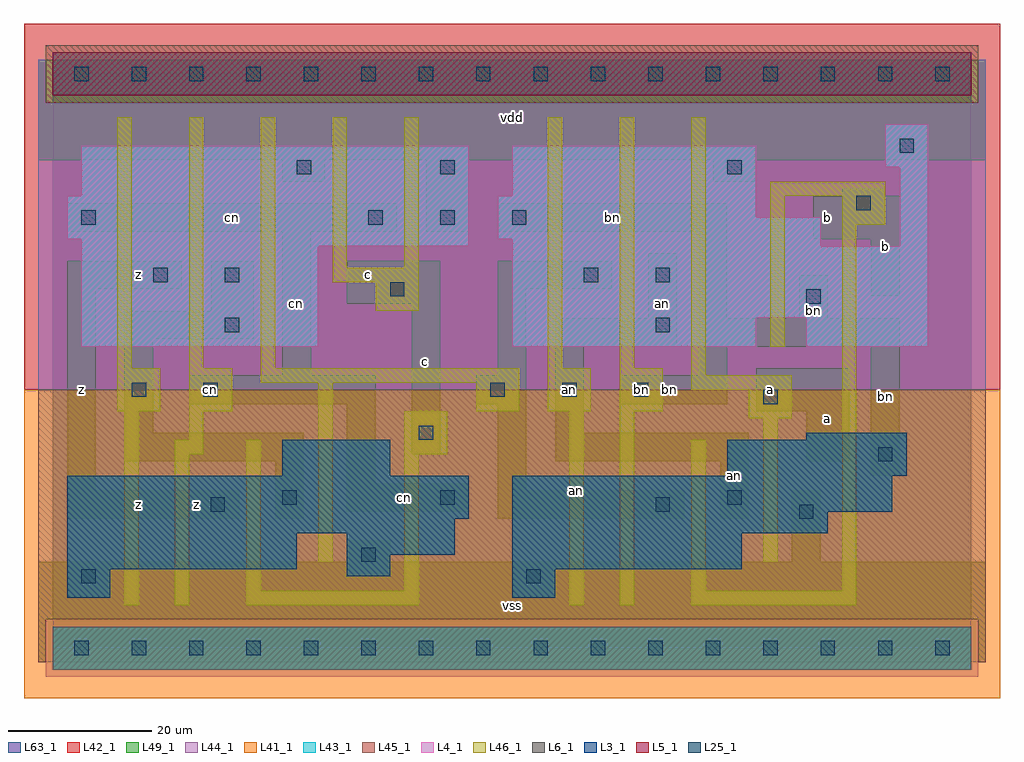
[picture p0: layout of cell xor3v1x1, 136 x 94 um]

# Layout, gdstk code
import gdstk
lib = gdstk.Library(unit=1e-6, precision=1e-09)
def R(c, l, rs):  # rectangles x0, y0, x1, y1
    for r in rs: c.add(gdstk.rectangle(r[:2], r[2:], *l))
def A(c, l, x, y, w, h, nx, ny, dx, dy):  # array of equal rectangles
    R(c, l, [(x+i*dx, y+j*dy, x+i*dx+w, y+j*dy+h) for i in range(nx) for j in range(ny)])
L3_1 = (3, 1)
L4_1 = (4, 1)
L5_1 = (5, 1)
L6_1 = (6, 1)
L25_1 = (25, 1)
L41_1 = (41, 1)
L42_1 = (42, 1)
L43_1 = (43, 1)
L44_1 = (44, 1)
L45_1 = (45, 1)
L46_1 = (46, 1)
L49_1 = (49, 1)
L63_1 = (63, 1)

xor3v1x1 = lib.new_cell('xor3v1x1')
R(xor3v1x1, L3_1, [(2,7,8,11), (64,7,70,11), (41,10,47,13), (2,11,34,16), (64,11,96,16), (41,13,56,16), (2,16,56,18), (64,16,108,19), (2,18,58,24), (64,19,117,24), (32,24,47,29), (94,24,119,29), (105,29,119,30)])
R(xor3v1x1, L4_1, [(4,42,37,56), (64,42,98,46), (105,42,122,46), (64,46,122,56), (4,56,58,57), (64,56,107,57), (118,56,122,67), (2,57,58,63), (62,57,107,60), (62,60,98,63), (4,63,58,70), (64,63,98,70), (116,67,122,73)])
R(xor3v1x1, L5_1, [(0,77,128,83)])
R(xor3v1x1, L6_1, [(0,-3,128,3), (0,-3,128,3)])
A(xor3v1x1, L25_1, 3, -1, 2, 2, 16, 2, 8, 80)
A(xor3v1x1, L25_1, 61, 35, 2, 2, 3, 1, 10, 0)
A(xor3v1x1, L25_1, 44, 59, 2, 2, 3, 1, 10, 0)
R(xor3v1x1, L25_1, [(4,9,6,11), (66,9,68,11), (43,12,45,14), (104,18,106,20), (22,19,24,21), (84,19,86,21), (32,20,34,22), (54,20,56,22), (94,20,96,22), (115,26,117,28), (51,29,53,31), (99,34,101,36), (11,35,13,37), (21,35,23,37), (24,44,26,46), (84,44,86,46), (105,48,107,50), (47,49,49,51), (14,51,16,53), (24,51,26,53), (74,51,76,53), (84,51,86,53), (4,59,6,61), (112,61,114,63), (34,66,36,68), (54,66,56,68), (94,66,96,68), (118,69,120,71)])
R(xor3v1x1, L41_1, [(-4,-7,132,36)])
R(xor3v1x1, L42_1, [(-4,36,132,87)])
R(xor3v1x1, L43_1, [(0,-3,128,3), (2,7,8,11), (64,7,70,11), (41,10,47,13), (2,11,34,16), (64,11,96,16), (41,13,56,16), (2,16,56,18), (64,16,108,19), (2,18,58,24), (64,19,117,24), (32,24,47,29), (94,24,119,29), (105,29,119,30), (4,42,37,56), (64,42,98,46), (105,42,122,46), (64,46,122,56), (4,56,58,57), (64,56,107,57), (118,56,122,67), (2,57,58,63), (62,57,107,60), (62,60,98,63), (4,63,58,70), (64,63,98,70), (116,67,122,73), (0,77,128,83)])
R(xor3v1x1, L44_1, [(-1,-4,129,4), (-2,36,130,76), (-2,76,-1,82), (129,76,130,82)])
R(xor3v1x1, L45_1, [(-2,-2,-1,4), (129,-2,130,4), (-2,4,130,36), (-1,76,129,84)])
A(xor3v1x1, L46_1, 9, 39, 2, 35, 3, 1, 10, 0)
R(xor3v1x1, L46_1, [(10,6,12,33), (17,6,19,27), (27,6,51,8), (72,6,74,33), (79,6,81,33), (89,6,112,8), (27,8,29,29), (49,8,51,27), (89,8,91,29), (110,8,112,59), (37,12,39,37), (99,12,101,32), (17,27,21,29), (49,27,55,33), (19,29,21,33), (97,32,103,36), (9,33,15,39), (19,33,25,39), (59,33,65,37), (69,33,75,39), (79,33,85,39), (89,36,103,38), (29,37,65,39), (89,38,91,74), (69,39,71,74), (79,39,81,74), (100,42,102,63), (45,47,51,51), (39,51,51,53), (39,53,41,74), (49,53,51,74), (110,59,116,63), (100,63,116,65)])
R(xor3v1x1, L49_1, [(-2,-2,130,12), (41,12,47,15), (103,12,107,22), (2,18,26,22), (31,18,35,26), (62,18,88,22), (93,18,97,26), (41,19,58,23), (2,22,6,50), (62,22,66,34), (41,23,45,34), (114,24,118,42), (10,26,35,30), (70,26,97,30), (105,26,111,33), (50,27,54,48), (10,30,14,43), (70,30,74,42), (98,33,111,39), (19,34,45,38), (59,34,66,38), (79,34,94,38), (32,38,36,58), (62,38,66,50), (90,38,94,42), (70,42,87,46), (90,42,118,46), (10,43,28,47), (83,46,87,55), (90,46,94,58), (104,46,108,52), (22,47,28,54), (41,48,54,54), (114,49,118,57), (2,50,18,54), (62,50,78,54), (106,57,118,63), (2,58,48,62), (52,58,58,68), (62,58,94,62), (110,63,116,64), (32,65,38,68), (92,65,98,68), (-2,68,130,82)])
R(xor3v1x1, L63_1, [(0,0,128,80)])
xor3v1x1.add(gdstk.Label('cn', (22,36), layer=49, texttype=1))
xor3v1x1.add(gdstk.Label('an', (73,22), layer=46, texttype=1))
xor3v1x1.add(gdstk.Label('bn', (82,36), layer=49, texttype=1))
xor3v1x1.add(gdstk.Label('z', (20,20), layer=49, texttype=1))
xor3v1x1.add(gdstk.Label('z', (12,20), layer=49, texttype=1))
xor3v1x1.add(gdstk.Label('z', (4,36), layer=49, texttype=1))
xor3v1x1.add(gdstk.Label('z', (12,52), layer=49, texttype=1))
xor3v1x1.add(gdstk.Label('c', (44,52), layer=49, texttype=1))
xor3v1x1.add(gdstk.Label('cn', (34,48), layer=49, texttype=1))
xor3v1x1.add(gdstk.Label('cn', (25,60), layer=49, texttype=1))
xor3v1x1.add(gdstk.Label('vss', (64,6), layer=49, texttype=1))
xor3v1x1.add(gdstk.Label('cn', (49,21), layer=49, texttype=1))
xor3v1x1.add(gdstk.Label('an', (72,36), layer=49, texttype=1))
xor3v1x1.add(gdstk.Label('c', (52,40), layer=49, texttype=1))
xor3v1x1.add(gdstk.Label('vdd', (64,74), layer=49, texttype=1))
xor3v1x1.add(gdstk.Label('an', (95,24), layer=49, texttype=1))
xor3v1x1.add(gdstk.Label('bn', (86,36), layer=49, texttype=1))
xor3v1x1.add(gdstk.Label('a', (100,36), layer=49, texttype=1))
xor3v1x1.add(gdstk.Label('an', (85,48), layer=49, texttype=1))
xor3v1x1.add(gdstk.Label('bn', (78,60), layer=49, texttype=1))
xor3v1x1.add(gdstk.Label('a', (108,32), layer=49, texttype=1))
xor3v1x1.add(gdstk.Label('bn', (116,35), layer=49, texttype=1))
xor3v1x1.add(gdstk.Label('bn', (106,47), layer=49, texttype=1))
xor3v1x1.add(gdstk.Label('b', (116,56), layer=49, texttype=1))
xor3v1x1.add(gdstk.Label('b', (108,60), layer=49, texttype=1))

lib.write_gds('xor3v1x1.gds')
